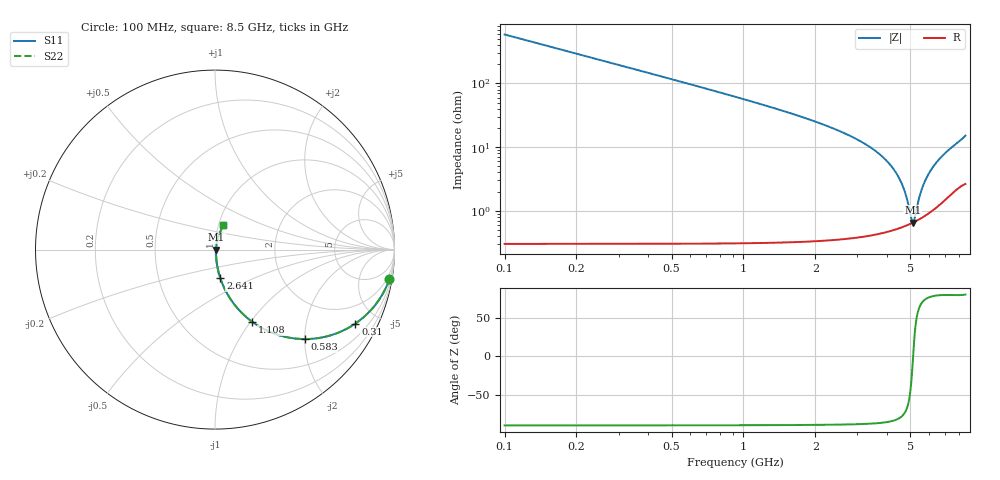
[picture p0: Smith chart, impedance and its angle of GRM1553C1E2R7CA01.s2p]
!Murata Part Number: GRM1553C1E2R7CA01
!These Parameters are Measured in Series Mode Connection
!Data Generated on Mar 30, 2021
!  o--ll--o
!Port1  Port2
!  o------o
!Operation Temp=25[degC], DC Bias Voltage=0[V]
!Freq. Start=100[MHz] Stop=9[GHz] 401[Steps]
# Hz S RI R 50
!Freq.(Hz) S11(Real) S11(Imag) S21(Real) S21(Imag) S12(Real) S12(Imag) S22(Real) S22(Imag)
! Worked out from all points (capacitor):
!   401 points, 100 MHz to 8.5 GHz, reference 50 ohm
!   read as one part in series: C = 2.7 pF near 142 MHz
!   lowest |Z| = 651 mohm at 5.119 GHz (marker M1)
!   series resonance near 5.134 GHz, so ESL is about 360 pH
!   S11 on the Smith chart (normalised r, x): 100 MHz: 1, -12; 310 MHz: 1.01, -3.79; 583 MHz: 1.01, -2.00; 1.108 GHz: 1.01, -1.02; 2.641 GHz: 1.01, -0.33; 8.5 GHz: 1.05, +0.30
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1e8  0.9719 -0.1649  0.0281 0.1649  0.0281 0.1649  0.9719 -0.1649
2.05e8  0.8916 -0.3104  0.1084 0.3104  0.1084 0.3104  0.8916 -0.3104
3.1e8  0.7818 -0.4122  0.2182 0.4122  0.2182 0.4122  0.7818 -0.4122
4.36e8  0.6429 -0.478  0.3571 0.478  0.3571 0.478  0.6429 -0.478
5.83e8  0.4993 -0.4985  0.5007 0.4985  0.5007 0.4985  0.4993 -0.4985
8.35e8  0.322 -0.465  0.678 0.465  0.678 0.465  0.322 -0.465
1.108e9  0.2067 -0.4019  0.7933 0.4019  0.7933 0.4019  0.2067 -0.4019
1.507e9  0.1161 -0.316  0.8839 0.316  0.8839 0.316  0.1161 -0.316
2.641e9  0.0301 -0.1603  0.9699 0.1603  0.9699 0.1603  0.0301 -0.1603
2.914e9  0.0224 -0.1353  0.9776 0.1353  0.9776 0.1353  0.0224 -0.1353
3.733e9  0.01 -0.075  0.99 0.075  0.99 0.075  0.01 -0.075
4.3e9  0.00673 -0.0417  0.9933 0.0417  0.9933 0.0417  0.00673 -0.0417
4.699e9  0.00603 -0.0209  0.994 0.0209  0.994 0.0209  0.00603 -0.0209
4.846e9  0.00605 -0.0136  0.9939 0.0136  0.9939 0.0136  0.00605 -0.0136
5.056e9  0.00631 -0.00362  0.9937 0.00362  0.9937 0.00362  0.00631 -0.00362
5.119e9  0.00643 -0.000687  0.9936 0.000687  0.9936 0.000687  0.00643 -0.000687
5.203e9  0.00664 0.00317  0.9934 -0.00317  0.9934 -0.00317  0.00664 0.00317
5.476e9  0.00758 0.0154  0.9924 -0.0154  0.9924 -0.0154  0.00758 0.0154
5.707e9  0.0087 0.0254  0.9913 -0.0254  0.9913 -0.0254  0.0087 0.0254
6.274e9  0.0127 0.0487  0.9873 -0.0487  0.9873 -0.0487  0.0127 0.0487
7.114e9  0.022 0.0807  0.978 -0.0807  0.978 -0.0807  0.022 0.0807
8.5e9  0.0457 0.1385  0.9543 -0.1385  0.9543 -0.1385  0.0457 0.1385
